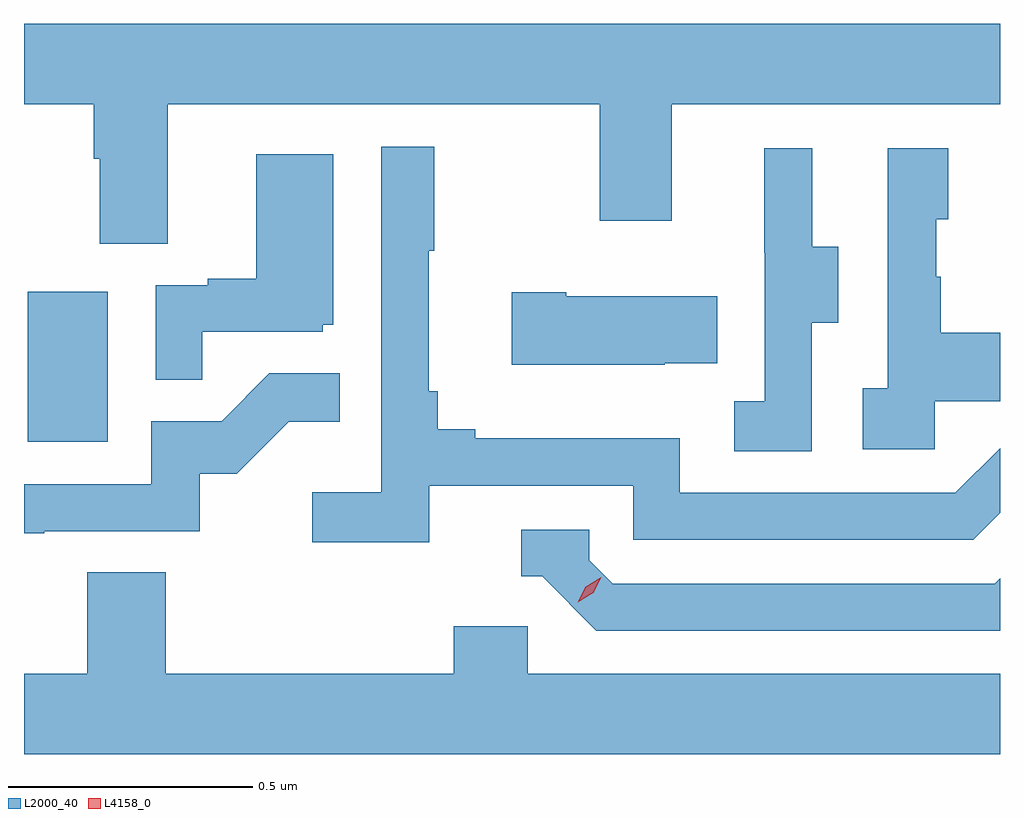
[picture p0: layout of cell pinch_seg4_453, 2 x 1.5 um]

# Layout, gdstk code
import gdstk
lib = gdstk.Library(unit=1e-6, precision=1e-09)
def R(c, l, rs):  # rectangles x0, y0, x1, y1
    for r in rs: c.add(gdstk.rectangle(r[:2], r[2:], *l))
def P(c, l, *ps):  # polygons
    for p in ps: c.add(gdstk.Polygon(p, *l))
L2000_40 = (2000, 40)
L4158_0 = (4158, 0)

pinch_seg4_453 = lib.new_cell('pinch_seg4_453')
R(pinch_seg4_453, L2000_40, [(932.774,784.14,932.938,784.447)])
P(pinch_seg4_453, L2000_40, [(933.061,784.832),(933.946,784.832),(933.946,784.593),(934.093,784.593),(934.093,784.832),(934.766,784.832),(934.766,784.996),(932.766,784.996),(932.766,784.832),(932.909,784.832),(932.909,784.72),(932.921,784.72),(932.921,784.546),(933.061,784.546)],
  [(933.596,784.05),(934.014,784.05),(934.014,783.939),(934.711,783.939),(934.766,783.994),(934.766,784.127),(934.674,784.035),(934.11,784.035),(934.11,784.147),(933.691,784.147),(933.691,784.166),(933.614,784.166),(933.614,784.243),(933.595,784.243),(933.595,784.531),(933.607,784.531),(933.607,784.744),(933.498,784.744),(933.498,784.036),(933.357,784.036),(933.357,783.934),(933.596,783.934)],
  [(934.38,784.384),(934.435,784.384),(934.435,784.539),(934.381,784.539),(934.381,784.741),(934.283,784.741),(934.283,784.527),(934.284,784.527),(934.284,784.223),(934.221,784.223),(934.221,784.12),(934.38,784.12)],
  [(934.632,784.223),(934.766,784.223),(934.766,784.363),(934.645,784.363),(934.645,784.478),(934.635,784.478),(934.635,784.596),(934.66,784.596),(934.66,784.741),(934.536,784.741),(934.536,784.25),(934.485,784.25),(934.485,784.125),(934.632,784.125)],
  [(933.131,784.365),(933.378,784.365),(933.378,784.38),(933.4,784.38),(933.4,784.729),(933.242,784.729),(933.242,784.474),(933.143,784.474),(933.143,784.461),(933.036,784.461),(933.036,784.267),(933.131,784.267)],
  [(934.079,784.301),(934.187,784.301),(934.187,784.438),(933.877,784.438),(933.877,784.446),(933.765,784.446),(933.765,784.298),(934.079,784.298)],
  [(932.807,783.957),(933.126,783.957),(933.126,784.074),(933.202,784.074),(933.309,784.181),(933.413,784.181),(933.413,784.28),(933.269,784.28),(933.171,784.182),(933.027,784.182),(933.027,784.053),(932.766,784.053),(932.766,783.952),(932.807,783.952)],
  [(934.766,783.86),(934.755,783.849),(933.972,783.849),(933.924,783.897),(933.924,783.96),(933.785,783.96),(933.785,783.864),(933.828,783.864),(933.939,783.753),(934.766,783.753)],
  [(934.766,783.664),(933.798,783.664),(933.798,783.762),(933.647,783.762),(933.647,783.664),(933.056,783.664),(933.056,783.872),(932.896,783.872),(932.896,783.664),(932.766,783.664),(932.766,783.5),(934.766,783.5)])
P(pinch_seg4_453, L4158_0, [(933.901,783.811),(933.901,783.811),(933.917,783.843),(933.949,783.862),(933.949,783.862),(933.949,783.862),(933.932,783.83),(933.901,783.811)])

lib.write_gds('pinch_seg4_453.gds')
